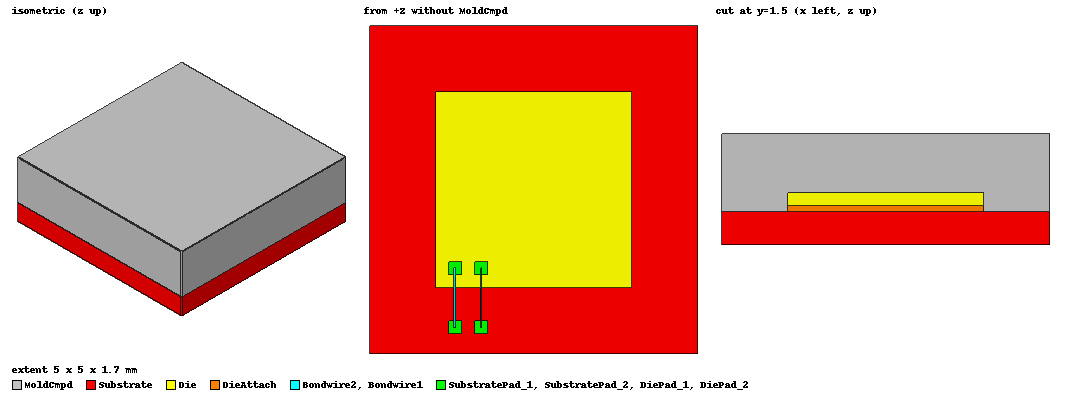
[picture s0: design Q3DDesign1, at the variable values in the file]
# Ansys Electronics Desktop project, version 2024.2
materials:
  vacuum: permittivity=1
  copper: permeability=0.999991 conductivity=58000000
  silicon: permittivity=11.9
  FR4_epoxy: permittivity=4.4 dielectric_loss_tangent=0.02
  modified_epoxy: permittivity=4.2 dielectric_loss_tangent=0.02
  epoxy_Kevlar_xy: permittivity=3.6

design Q3DDesign1 (Q3D Extractor, model units mm)
options: SParamCalcMethod=EqTransLine Calculate_Lossy_Dielectrics
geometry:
  Die [silicon] = rectangle(corner=(0mm, 0mm, 0mm), x_size=3mm, y_size=3mm)
  Die.thicken(0.2mm)
  Substrate [FR4_epoxy] = rectangle(corner=(-1mm, -1mm, -0.1mm), x_size=5mm, y_size=5mm)
  Substrate.thicken(-0.5mm)
  DieAttach [modified_epoxy] = rectangle(corner=(0mm, 0mm, 0mm), x_size=3mm, y_size=3mm)
  DieAttach.thicken(-0.1mm)
  DiePad_1 [copper] = rectangle(corner=(0.2mm, 0.2mm, 0.2mm), x_size=0.2mm, y_size=0.2mm)
  DiePad_1.thicken(0.005mm)
  SubstratePad_1 [copper] = rectangle(corner=(0.2mm, -0.7mm, -0.1mm), x_size=0.2mm, y_size=0.2mm)
  SubstratePad_1.thicken(0.01mm)
  Bondwire1 [copper] = bondwire(WireType=JEDEC_4Points WireDiameter=0.025mm NumSides=6 XPadPos=0.3mm YPadPos=0.3mm ZPadPos=0.205mm XDir=0mm YDir=-0.9mm ZDir=0mm Distance=0.9mm h1=0.2mm h2=0.295mm alpha=80deg beta=0 WhichAxis=Z)
  DiePad_2 [copper] = rectangle(corner=(0.6mm, 0.2mm, 0.2mm), x_size=0.2mm, y_size=0.2mm)
  DiePad_2.thicken(0.005mm)
  SubstratePad_2 [copper] = rectangle(corner=(0.6mm, -0.7mm, -0.1mm), x_size=0.2mm, y_size=0.2mm)
  SubstratePad_2.thicken(0.01mm)
  Bondwire2 [copper] = bondwire(WireType=JEDEC_4Points WireDiameter=0.025mm NumSides=6 XPadPos=0.7mm YPadPos=0.3mm ZPadPos=0.205mm XDir=0mm YDir=-0.9mm ZDir=0mm Distance=0.9mm h1=0.2mm h2=0.295mm alpha=80deg beta=0 WhichAxis=Z)
  MoldCmpd [epoxy_Kevlar_xy] = rectangle(corner=(-1mm, -1mm, -0.1mm), x_size=5mm, y_size=5mm)
  MoldCmpd.thicken(1.2mm)
